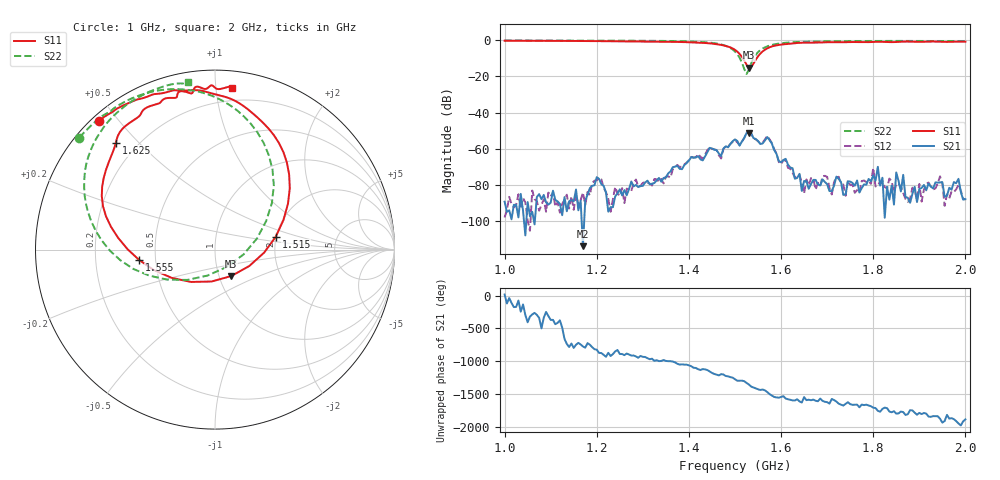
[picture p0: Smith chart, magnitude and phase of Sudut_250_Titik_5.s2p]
# Hz S RI R 50
! CMT, C1220, 16058040, 17.2.0/1
! Date: 14/08/2018 11:50:08
! Data: Format (Calibration Info)
! Freq  S11: Re/Im (F2)  S21: Re/Im (F2)  S12: Re/Im (F2)  S22: Re/Im (F2)
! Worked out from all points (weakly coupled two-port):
!   201 points, 1 GHz to 2 GHz, reference 50 ohm
!   highest |S21| = -51.13 dB at 1.53 GHz (marker M1); lowest = -113.6 dB at 1.17 GHz (marker M2)
!   lowest |S11| = -15.2 dB at 1.53 GHz (marker M3), VSWR 1.42, Z = 57.2 - j17.4 ohm
!   |S11| at or under -10 dB: 1.517 GHz to 1.547 GHz (30.17 MHz wide, 1.97 % of centre)
!   |S22| runs from -18.7 to -0.2 dB; largest |S21 - S12| = 0.00022
!   S11 on the Smith chart (normalised r, x): 1 GHz: 0.02, +0.44; 1.515 GHz: 1.99, +0.33; 1.555 GHz: 0.40, -0.06; 1.625 GHz: 0.12, +0.43; 2 GHz: 0.11, +1.11
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1e9  -0.6478 0.715  3.38e-05 9.78e-06  1.27e-05 1.56e-06  -0.7554 0.6241
1.17e9  -0.4696 0.8216  1.22e-06 -1.69e-06  5.53e-05 -2.91e-05  -0.6185 0.7504
1.335e9  -0.2076 0.8864  2.12e-05 0.000157  4.59e-05 0.000115  -0.4014 0.8659
1.45e9  0.1818 0.7827  -0.000126 -0.00103  -0.000222 -0.000974  0.021 0.8397
1.47e9  0.2969 0.6761  -0.000277 -0.00058  -0.000268 -0.000474  0.1617 0.7416
1.5e9  0.4167 0.3426  -0.00178 0.000436  -0.00166 0.000432  0.3278 0.3571
1.515e9  0.3389 0.0722  -0.00131 0.000919  -0.00131 0.000908  0.2338 0.0616
1.53e9  0.0911 -0.1472  0.000134 0.00277  9.94e-05 0.00275  -0.0422 -0.1448
1.555e9  -0.422 -0.0586  0.00137 7.67e-05  0.00139 0.000176  -0.5274 -0.0592
1.57e9  -0.5792 0.1267  0.00187 -0.00101  0.00201 -0.00112  -0.6651 0.1058
1.625e9  -0.5527 0.5948  -0.000268 -0.00012  -0.000202 -9.16e-05  -0.705 0.5196
1.645e9  -0.516 0.6725  -6.86e-05 9.93e-06  -0.000105 4.19e-05  -0.6713 0.5998
1.67e9  -0.4329 0.7347  -0.000113 -8.39e-05  -0.000128 -7.33e-05  -0.6273 0.6717
1.785e9  -0.2138 0.8486  -7.89e-05 6.72e-05  -5.79e-05 0.000108  -0.447 0.8365
1.795e9  -0.2103 0.8618  -5.63e-05 0.000115  -2.13e-05 0.000107  -0.4325 0.8448
1.8e9  -0.2078 0.8703  -1.05e-05 0.000188  0.000148 0.00026  -0.4256 0.8491
1.81e9  -0.195 0.8816  0.000224 0.000231  4.73e-05 0.000102  -0.4116 0.8572
1.815e9  -0.1848 0.8826  8.25e-05 5.2e-05  -1.27e-05 0.00011  -0.4045 0.8609
1.835e9  -0.1372 0.8707  3.29e-05 2.28e-05  0.000128 8.16e-05  -0.378 0.8738
1.85e9  -0.1227 0.8796  0.000225 1.11e-05  5.54e-05 9.58e-05  -0.3576 0.8833
1.86e9  -0.1164 0.897  5.52e-05 3.83e-05  9.25e-05 -7.44e-06  -0.3435 0.8886
2e9  0.0964 0.9021  3.62e-06 -4.09e-05  -1.11e-05 -3.92e-05  -0.1526 0.934
